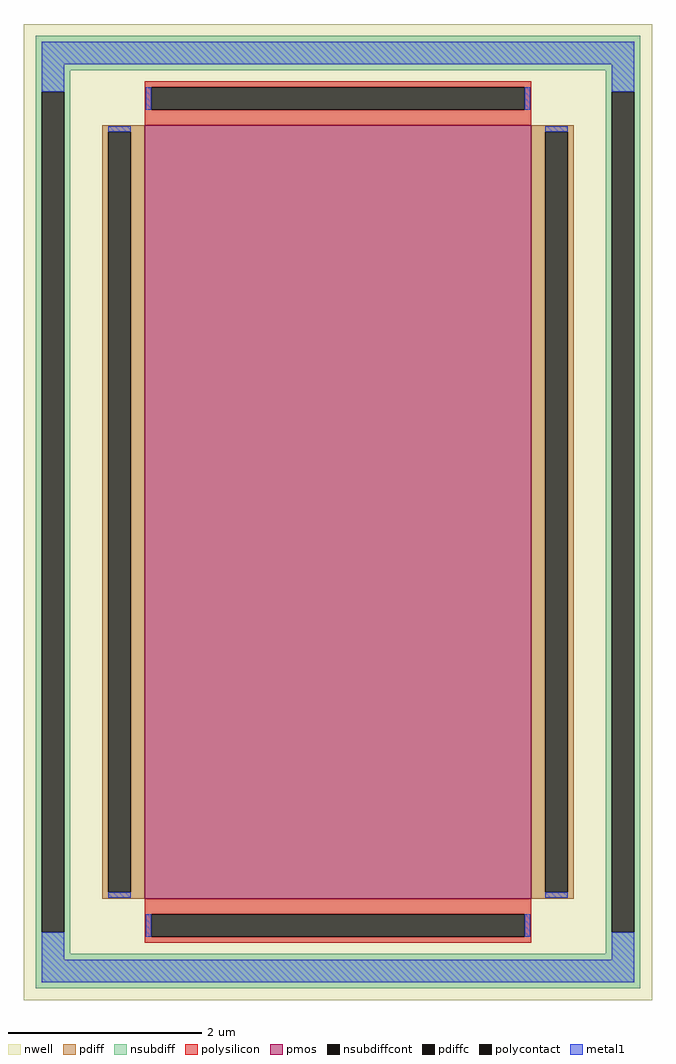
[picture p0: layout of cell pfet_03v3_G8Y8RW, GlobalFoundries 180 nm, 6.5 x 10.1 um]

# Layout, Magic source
magic
tech gf180mcuD
magscale 1 10
<< nwell >>
rect -650 -1010 650 1010
<< pmos >>
rect -400 -800 400 800
<< pdiff >>
rect -488 787 -400 800
rect -488 -787 -475 787
rect -429 -787 -400 787
rect -488 -800 -400 -787
rect 400 787 488 800
rect 400 -787 429 787
rect 475 -787 488 787
rect 400 -800 488 -787
<< pdiffc >>
rect -475 -787 -429 787
rect 429 -787 475 787
<< nsubdiff >>
rect -626 914 626 986
rect -626 870 -554 914
rect -626 -870 -613 870
rect -567 -870 -554 870
rect 554 870 626 914
rect -626 -914 -554 -870
rect 554 -870 567 870
rect 613 -870 626 870
rect 554 -914 626 -870
rect -626 -986 626 -914
<< nsubdiffcont >>
rect -613 -870 -567 870
rect 567 -870 613 870
<< polysilicon >>
rect -400 879 400 892
rect -400 833 -387 879
rect 387 833 400 879
rect -400 800 400 833
rect -400 -833 400 -800
rect -400 -879 -387 -833
rect 387 -879 400 -833
rect -400 -892 400 -879
<< polycontact >>
rect -387 833 387 879
rect -387 -879 387 -833
<< metal1 >>
rect -613 927 613 973
rect -613 870 -567 927
rect -398 833 -387 879
rect 387 833 398 879
rect 567 870 613 927
rect -475 787 -429 798
rect -475 -798 -429 -787
rect 429 787 475 798
rect 429 -798 475 -787
rect -613 -927 -567 -870
rect -398 -879 -387 -833
rect 387 -879 398 -833
rect 567 -927 613 -870
rect -613 -973 613 -927
<< properties >>
string FIXED_BBOX -590 -950 590 950
string gencell pfet_03v3
string library gf180mcu
string parameters w 8.0 l 4.0 m 1 nf 1 diffcov 100 polycov 100 guard 1 glc 1 grc 1 gtc 0 gbc 0 tbcov 100 rlcov 100 topc 1 botc 1 poverlap 0 doverlap 1 lmin 0.28 wmin 0.22 class mosfet full_metal 1 compatible {pfet_03v3 pfet_06v0} ad {int((nf+1)/2) * W/nf * 0.18u} as {int((nf+2)/2) * W/nf * 0.18u} pd {2*int((nf+1)/2) * (W/nf + 0.18u)} ps {2*int((nf+2)/2) * (W/nf + 0.18u)} nrd {0.18u / W} nrs {0.18u / W} sa 0 sb 0 sd 0
<< end >>
